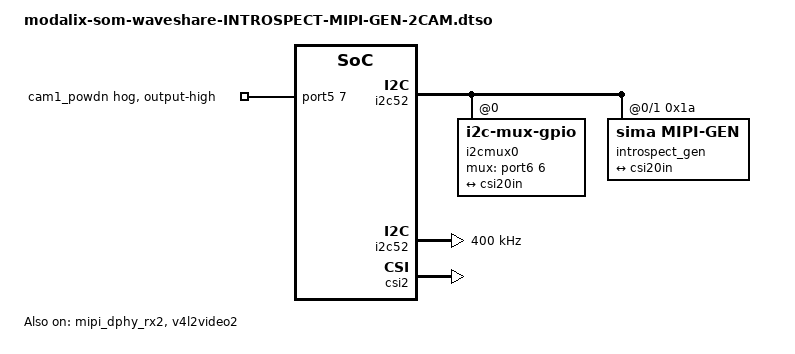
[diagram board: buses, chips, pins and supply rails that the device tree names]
// SPDX-License-Identifier: (GPL-2.0+ OR MIT)
/*
 * Copyright (c) 2026 SiMa ai
 *
 * cam1 overlay for the Introspect Technology SV3C-DPTX MIPI generator.
 *
 * Confirmed generator-side config this overlay must match (Introspect
 * Pinetree, SV3C_4L6G_MIPI_DPHY_GENERATOR):
 *   - dataLanes        = [1, 2]        -> data-lanes = <1 2> below
 *   - continuousClock  = True          -> clock-continuous; below
 *   - mipiClockConfig2.dataRate = 900.0 (Mbps/lane) -> link-frequencies
 *     = 450000000 below (bit rate = link freq * 2 for DDR)
 *   - virtualChannel   = 0             -> VC0, matches driver/host default
 *   - imageFormat      = CSI_RAW8,
 *     rawFormatBayerCell = RGGB        -> sima,pixel-bits = <8> below,
 *     driver's fmt_code = MEDIA_BUS_FMT_SRGGB8_1X8
 */

/dts-v1/;
/plugin/;

&{/} {
	xclk20: xclk20 {
		status = "okay";
		compatible = "fixed-clock";
		#clock-cells = <0>;
		clock-frequency = <24000000>;
	};

	i2cmux0: i2cmux@0 {
		compatible = "i2c-mux-gpio";
		i2c-parent = <&i2c52>;
		#address-cells = <1>;
		#size-cells = <0>;
		/* Set port6 gpio6 to GPIO_ACTIVE_LOW mode */
		mux-gpios = <&port6 6 0>;
		i2cmux0p1: i2c@1 {
		    reg = <1>;
		    #address-cells = <1>;
		    #size-cells = <0>;
		};
	};
};

&port5 {
	cam-hog1 {
		gpio-hog;
		/* Set port5 gpio7 to GPIO_ACTIVE_HIGH mode */
		gpios = <7 0>;
		output-high;
		line-name = "cam1_powdn";
	};
};

&i2c52 {
    status = "okay";
    clock-frequency = <400000>;
    #address-cells = <1>;
    #size-cells = <0>;
};

&csi2 {
    status = "okay";
};

&axi_vdma2 {
    status = "okay";
};

&mipi_dphy_rx2 {
    status = "okay";
};

&v4l2video2 {
    status = "okay";
};

&v4l2vdma2 {
    status = "okay";
};

&csi20in {
    clock-lanes = <0>;
    data-lanes = <1 2>;
    link-frequencies = /bits/ 64 <450000000>;
    remote-endpoint = <&cam20out>;
    clock-continuous;
};

&i2cmux0p1 {
	introspect_gen: introspect_gen@1a {
		compatible = "sima,mipi-gen";
		reg = <0x1a>;

		clocks = <&xclk20>;
		clock-names = "xclk";

		port@1 {
			cam20out: endpoint@0 {
				clock-lanes = <0>;
				data-lanes = <1 2>;
				link-frequencies = /bits/ 64 <450000000>;
				remote-endpoint = <&csi20in>;
				clock-continuous;
				sima,pixel-bits = <8>;
			};
		};
	};
};
